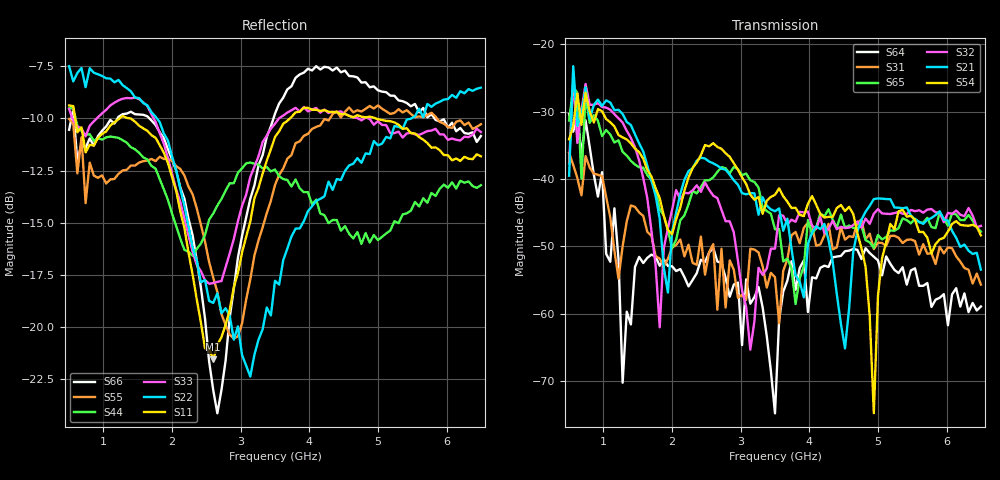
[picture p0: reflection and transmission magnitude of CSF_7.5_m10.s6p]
!Keysight Technologies,M9804A,MY58100912,A.14.10.03
!Date: Thursday, April 27, 2023 10:28:33
!Correction: S11(C  6-Port  )
!S12(C  6-Port  )
!S13(C  6-Port  )
!S14(C  6-Port  )
!S15(C  6-Port  )
!S16(C  6-Port  )
!S21(C  6-Port  )
!S22(C  6-Port  )
!S23(C  6-Port  )
!S24(C  6-Port  )
!S25(C  6-Port  )
!S26(C  6-Port  )
!S31(C  6-Port  )
!S32(C  6-Port  )
!S33(C  6-Port  )
!S34(C  6-Port  )
!S35(C  6-Port  )
!S36(C  6-Port  )
!S41(C  6-Port  )
!S42(C  6-Port  )
!S43(C  6-Port  )
!S44(C  6-Port  )
!S45(C  6-Port  )
!S46(C  6-Port  )
!S51(C  6-Port  )
!S52(C  6-Port  )
!S53(C  6-Port  )
!S54(C  6-Port  )
!S55(C  6-Port  )
!S56(C  6-Port  )
!S61(C  6-Port  )
!S62(C  6-Port  )
!S63(C  6-Port  )
!S64(C  6-Port  )
!S65(C  6-Port  )
!S66(C  6-Port  )
!S6P File: Measurement: :
# Hz S  RI  R 50
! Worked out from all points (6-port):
!   101 points, 500 MHz to 6.5 GHz, reference 50 ohm
!   strongest paths, dB at 500 MHz, 2 GHz, 3.5 GHz, 5 GHz, 6.5 GHz:
!     S54: -34.1, -48.2, -42.3, -57.3, -48.4
!     S21: -39.5, -47.9, -44.8, -42.9, -53.4
!     S32: -37.7, -44.6, -50.3, -44.5, -47.0
!     S65: -31.3, -50.3, -47.5, -48.3, -47.8
!     S31: -36.1, -50.2, -54.6, -49.4, -55.7
!     S64: -30.3, -52.9, -74.8, -52.1, -58.9
!   lowest |S11| = -21.6 dB at 2.6 GHz (marker M1), VSWR 1.18, Z = 42.5 + j2.07 ohm
!   |S11| at or under -10 dB: 588.2 MHz to 1.235 GHz (646.8 MHz wide, 71 % of centre); 1.392 GHz to 3.717 GHz (2.325 GHz wide, 91 % of centre); 4.967 GHz to end of sweep
